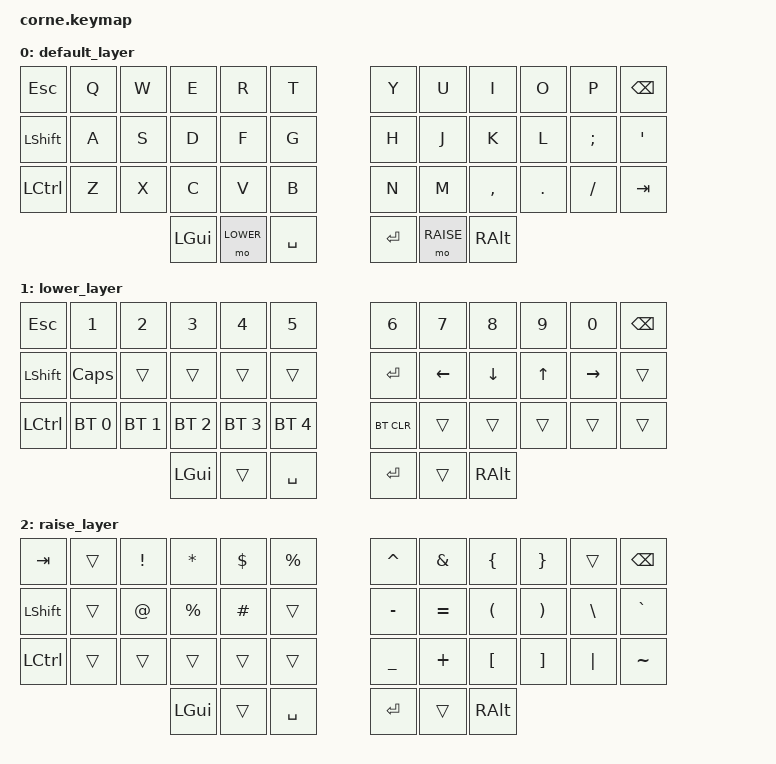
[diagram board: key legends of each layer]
/*
 * Copyright (c) 2020 The ZMK Contributors
 *
 * SPDX-License-Identifier: MIT
 */

#include <behaviors.dtsi>
#include <dt-bindings/zmk/keys.h>
#include <dt-bindings/zmk/bt.h>

// LAYERS

#define DEFAULT 0
#define LOWER 1
#define RAISE 2
#define CONNECTIVITY 3


/ {
        keymap {
                compatible = "zmk,keymap";

                default_layer {
// -----------------------------------------------------------------------------------------
// | ESC  |  Q  |  W  |  E  |  R  |  T  |   |  Y  |  U   |  I  |  O  |  P  | BSPC |
// | SHFT |  A  |  S  |  D  |  F  |  G  |   |  H  |  J   |  K  |  L  |  ;  |  '   |
// | CTRL |  Z  |  X  |  C  |  V  |  B  |   |  N  |  M   |  ,  |  .  |  /  | TAB  |
//                    | GUI | LWR | SPC |   | ENT | RSE  | ALT |
                        bindings = <
   &kp ESC   &kp Q &kp W &kp E &kp R &kp T   &kp Y &kp U  &kp I     &kp O   &kp P    &kp BSPC
   &kp LSHFT &kp A &kp S &kp D &kp F &kp G   &kp H &kp J  &kp K     &kp L   &kp SEMI &kp SQT
   &kp LCTRL &kp Z &kp X &kp C &kp V &kp B   &kp N &kp M  &kp COMMA &kp DOT &kp FSLH &kp TAB
                  &kp LGUI &mo LOWER &kp SPACE   &kp RET &mo RAISE &kp RALT
                        >;
                };
                lower_layer {
// -----------------------------------------------------------------------------------------
// |  ESC  |  1  |  2  |  3  |  4  |  5  |   |  6    |  7  |  8  |  9  |  0  | BSPC |
// |  SHFT | CAPS|     |     |     |     |   | ENT   | LFT | DWN |  UP | RGT |      |
// |  CTRL | BT1 | BT2 | BT3 | BT4 | BT5 |   | BTCLR |     |     |     |     |      | 
//                     | GUI |     | SPC |   | ENT   |     | ALT |
                        bindings = <
   &kp ESC    &kp N1       &kp N2       &kp N3       &kp N4       &kp N5         &kp N6       &kp N7   &kp N8   &kp N9    &kp N0    &kp BSPC
   &kp LSHFT  &kp CAPS     &trans       &trans       &trans       &trans         &kp RET      &kp LEFT &kp DOWN &kp UP    &kp RIGHT &trans
   &kp LCTRL &bt BT_SEL 0 &bt BT_SEL 1 &bt BT_SEL 2 &bt BT_SEL 3 &bt BT_SEL 4    &bt BT_CLR   &trans   &trans   &trans    &trans    &trans
                                    &kp LGUI     &trans       &kp SPACE      &kp RET  &trans   &kp RALT
                        >;
                };

                raise_layer {
// -----------------------------------------------------------------------------------------
// |  TAB |     |  !  |  *  |  $  |     |   |  ^  |  &  |  {  |  }  |     | BSPC |
// | SHFT |     |  @  |  %  |  #  |     |   |  -  |  =  |  (  |  )  |  \  |  `   |
// | CTRL |     |     |     |     |     |   |  _  |  +  |  [  |  ]  | "|" |  ~   |
//                    | GUI |     | SPC |   | ENT |     | ALT |
                        bindings = <
   &kp  TAB  &trans   &kp EXCL &kp ASTRK &kp DLLR &kp PRCNT   &kp CARET &kp AMPS  &kp LBRC  &kp RBRC &trans   &kp BSPC
   &kp LSHFT &trans   &kp AT   &kp PRCNT &kp HASH &trans      &kp MINUS &kp EQUAL &kp LPAR  &kp RPAR &kp BSLH &kp GRAVE
   &kp LCTRL &trans   &trans   &trans    &trans   &trans      &kp UNDER &kp PLUS  &kp LBKT  &kp RBKT &kp PIPE &kp TILDE
                               &kp LGUI  &trans   &kp SPACE   &kp RET   &trans    &kp RALT
                        >;
                };
        };
};
